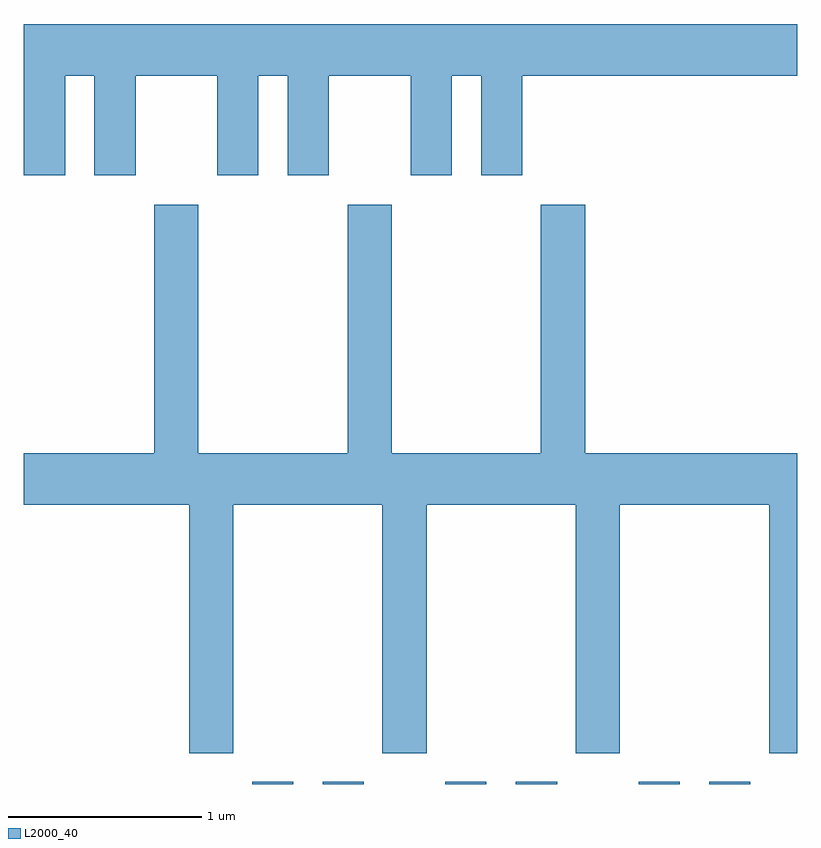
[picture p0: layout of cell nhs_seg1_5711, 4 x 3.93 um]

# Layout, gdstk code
import gdstk
lib = gdstk.Library(unit=1e-6, precision=1e-09)
def R(c, l, rs):  # rectangles x0, y0, x1, y1
    for r in rs: c.add(gdstk.rectangle(r[:2], r[2:], *l))
def P(c, l, *ps):  # polygons
    for p in ps: c.add(gdstk.Polygon(p, *l))
L2000_40 = (2000, 40)

nhs_seg1_5711 = lib.new_cell('nhs_seg1_5711')
R(nhs_seg1_5711, L2000_40, [(358.791,873.712,359.004,873.724), (359.156,873.712,359.369,873.724), (359.791,873.712,360.004,873.724), (360.156,873.712,360.369,873.724), (360.791,873.712,361.004,873.724), (361.156,873.712,361.369,873.724)])
P(nhs_seg1_5711, L2000_40, [(357.824,877.376),(357.976,877.376),(357.976,876.861),(358.189,876.861),(358.189,877.376),(358.611,877.376),(358.611,876.861),(358.824,876.861),(358.824,877.376),(358.976,877.376),(358.976,876.861),(359.189,876.861),(359.189,877.376),(359.611,877.376),(359.611,876.861),(359.824,876.861),(359.824,877.376),(359.976,877.376),(359.976,876.861),(360.189,876.861),(360.189,877.376),(361.611,877.376),(361.611,877.644),(357.611,877.644),(357.611,876.861),(357.824,876.861)],
  [(358.694,875.156),(359.466,875.156),(359.466,873.871),(359.694,873.871),(359.694,875.156),(360.466,875.156),(360.466,873.871),(360.694,873.871),(360.694,875.156),(361.466,875.156),(361.466,873.871),(361.611,873.871),(361.611,875.424),(360.514,875.424),(360.514,876.709),(360.286,876.709),(360.286,875.424),(359.514,875.424),(359.514,876.709),(359.286,876.709),(359.286,875.424),(358.514,875.424),(358.514,876.709),(358.286,876.709),(358.286,875.424),(357.611,875.424),(357.611,875.156),(358.466,875.156),(358.466,873.871),(358.694,873.871)])

lib.write_gds('nhs_seg1_5711.gds')
